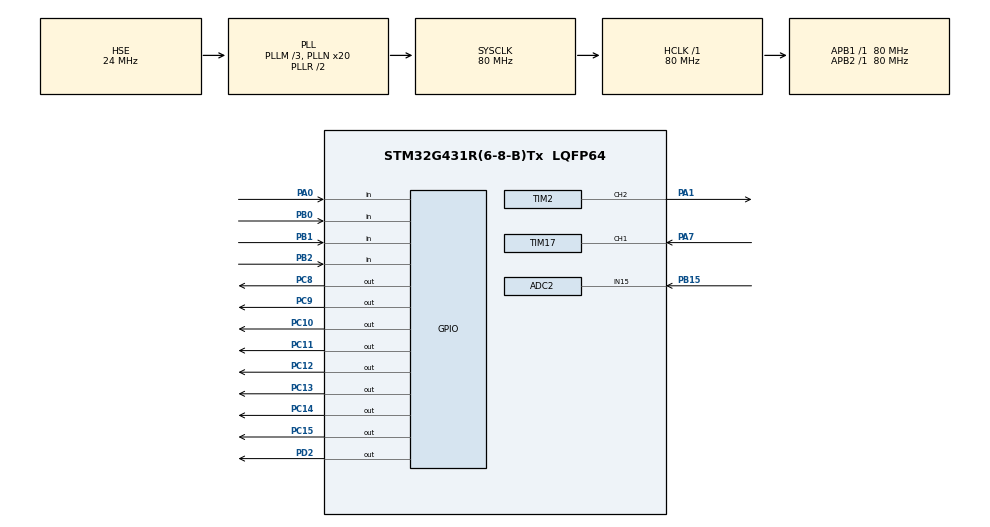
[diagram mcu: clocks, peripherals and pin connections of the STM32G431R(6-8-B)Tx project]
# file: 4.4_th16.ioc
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ADC2.Channel-0\#ChannelRegularConversion=ADC_CHANNEL_15
ADC2.NbrOfConversionFlag=1
ADC2.OffsetNumber-0\#ChannelRegularConversion=ADC_OFFSET_NONE
ADC2.Rank-0\#ChannelRegularConversion=1
ADC2.SamplingTime-0\#ChannelRegularConversion=ADC_SAMPLETIME_2CYCLES_5
Mcu.Family=STM32G4
Mcu.Name=STM32G431R(6-8-B)Tx
Mcu.Package=LQFP64
NVIC.PriorityGroup=NVIC_PRIORITYGROUP_4
NVIC.TIM1_BRK_TIM15_IRQn=true\:0\:0\:false\:false\:true\:true\:true\:true
NVIC.TIM1_TRG_COM_TIM17_IRQn=true\:0\:0\:false\:false\:true\:true\:true\:true
NVIC.TIM1_UP_TIM16_IRQn=true\:0\:0\:false\:false\:true\:true\:true\:true
PA0.GPIO_Mode=GPIO_MODE_INPUT
PA0.GPIO_PuPd=GPIO_NOPULL
PA0.Signal=GPIO_Input
PA1.Signal=S_TIM2_CH2
PA13.Mode=Serial_Wire
PA13.Signal=SYS_JTMS-SWDIO
PA14.Mode=Serial_Wire
PA14.Signal=SYS_JTCK-SWCLK
PA7.Signal=S_TIM17_CH1
PB0.GPIO_Mode=GPIO_MODE_INPUT
PB0.GPIO_PuPd=GPIO_NOPULL
PB0.Signal=GPIO_Input
PB1.GPIO_Mode=GPIO_MODE_INPUT
PB1.GPIO_PuPd=GPIO_NOPULL
PB1.Signal=GPIO_Input
PB15.Mode=IN15-Single-Ended
PB15.Signal=ADC2_IN15
PB2.GPIO_Mode=GPIO_MODE_INPUT
PB2.GPIO_PuPd=GPIO_NOPULL
PB2.Signal=GPIO_Input
PC10.GPIO_ModeDefaultOutputPP=GPIO_MODE_OUTPUT_PP
PC10.GPIO_PuPd=GPIO_NOPULL
PC10.GPIO_Speed=GPIO_SPEED_FREQ_LOW
PC10.PinState=GPIO_PIN_SET
PC10.Signal=GPIO_Output
PC11.GPIO_ModeDefaultOutputPP=GPIO_MODE_OUTPUT_PP
PC11.GPIO_PuPd=GPIO_NOPULL
PC11.GPIO_Speed=GPIO_SPEED_FREQ_LOW
PC11.PinState=GPIO_PIN_SET
PC11.Signal=GPIO_Output
PC12.GPIO_ModeDefaultOutputPP=GPIO_MODE_OUTPUT_PP
PC12.GPIO_PuPd=GPIO_NOPULL
PC12.GPIO_Speed=GPIO_SPEED_FREQ_LOW
PC12.PinState=GPIO_PIN_SET
PC12.Signal=GPIO_Output
PC13.GPIO_ModeDefaultOutputPP=GPIO_MODE_OUTPUT_PP
PC13.GPIO_PuPd=GPIO_NOPULL
PC13.GPIO_Speed=GPIO_SPEED_FREQ_LOW
PC13.PinState=GPIO_PIN_SET
PC13.Signal=GPIO_Output
PC14-OSC32_IN.GPIO_ModeDefaultOutputPP=GPIO_MODE_OUTPUT_PP
PC14-OSC32_IN.GPIO_PuPd=GPIO_NOPULL
PC14-OSC32_IN.GPIO_Speed=GPIO_SPEED_FREQ_LOW
PC14-OSC32_IN.PinState=GPIO_PIN_SET
PC14-OSC32_IN.Signal=GPIO_Output
PC15-OSC32_OUT.PinState=GPIO_PIN_SET
PC15-OSC32_OUT.Signal=GPIO_Output
PC8.GPIO_ModeDefaultOutputPP=GPIO_MODE_OUTPUT_PP
PC8.GPIO_PuPd=GPIO_NOPULL
PC8.GPIO_Speed=GPIO_SPEED_FREQ_LOW
PC8.PinState=GPIO_PIN_SET
PC8.Signal=GPIO_Output
PC9.GPIO_ModeDefaultOutputPP=GPIO_MODE_OUTPUT_PP
PC9.GPIO_PuPd=GPIO_NOPULL
PC9.GPIO_Speed=GPIO_SPEED_FREQ_LOW
PC9.PinState=GPIO_PIN_SET
PC9.Signal=GPIO_Output
PD2.GPIO_ModeDefaultOutputPP=GPIO_MODE_OUTPUT_PP
PD2.GPIO_PuPd=GPIO_NOPULL
PD2.GPIO_Speed=GPIO_SPEED_FREQ_LOW
PD2.PinState=GPIO_PIN_SET
PD2.Signal=GPIO_Output
PF0-OSC_IN.Mode=HSE-External-Oscillator
PF0-OSC_IN.Signal=RCC_OSC_IN
PF1-OSC_OUT.Mode=HSE-External-Oscillator
PF1-OSC_OUT.Signal=RCC_OSC_OUT
ProjectManager.HeapSize=0x200
ProjectManager.StackSize=0x400
ProjectManager.TargetToolchain=MDK-ARM V5.32
RCC.ADC12Freq_Value=80000000
RCC.AHBFreq_Value=80000000
RCC.APB1Freq_Value=80000000
RCC.APB1TimFreq_Value=80000000
RCC.APB2Freq_Value=80000000
RCC.APB2TimFreq_Value=80000000
RCC.CortexFreq_Value=80000000
RCC.EXTERNAL_CLOCK_VALUE=12288000
RCC.HCLKFreq_Value=80000000
RCC.HSE_VALUE=24000000
RCC.HSI48_VALUE=48000000
RCC.HSI_VALUE=16000000
RCC.LSE_VALUE=32768
RCC.PLLM=RCC_PLLM_DIV3
RCC.PLLN=20
RCC.PLLSourceVirtual=RCC_PLLSOURCE_HSE
RCC.SYSCLKFreq_VALUE=80000000
RCC.SYSCLKSource=RCC_SYSCLKSOURCE_PLLCLK
RCC.USBFreq_Value=80000000
RCC.VCOOutputFreq_Value=160000000
SH.S_TIM17_CH1.0=TIM17_CH1,Input_Capture1_from_TI1
SH.S_TIM2_CH2.0=TIM2_CH2,PWM Generation2 CH2
TIM1.PeriodNoDither=1000-1
TIM1.Prescaler=80-1
TIM17.Channel=TIM_CHANNEL_1
TIM17.Prescaler=80-1
TIM2.Channel-PWM\ Generation2\ CH2=TIM_CHANNEL_2
TIM2.PeriodNoDither=100-1
TIM2.Prescaler=200-1
VP_SYS_VS_DBSignals.Mode=DisableDeadBatterySignals
VP_TIM17_VS_ClockSourceINT.Mode=Enable_Timer
VP_TIM1_VS_ClockSourceINT.Mode=Internal
board=custom

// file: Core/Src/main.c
/* USER CODE BEGIN Header */
/**
  ******************************************************************************
  * @file           : main.c
  * @brief          : Main program body
  ******************************************************************************
  * @attention
  *
  * Copyright (c) 2026 STMicroelectronics.
  * All rights reserved.
  *
  * This software is licensed under terms that can be found in the LICENSE file
  * in the root directory of this software component.
  * If no LICENSE file comes with this software, it is provided AS-IS.
  *
  ******************************************************************************
  */
/* USER CODE END Header */
#include "main.h"
#include "adc.h"
#include "tim.h"
#include "gpio.h"

/* USER CODE BEGIN Includes */
#include "headfile.h"
/* USER CODE END Includes */

/* USER CODE BEGIN PV */
int a;
float duty=50;
/* USER CODE END PV */

void SystemClock_Config(void);

int main(void)
{

  /* MCU Configuration--------------------------------------------------------*/

  /* Reset of all peripherals, Initializes the Flash interface and the Systick. */
  HAL_Init();

  /* Configure the system clock */
  SystemClock_Config();

  /* Initialize all configured peripherals */
  MX_GPIO_Init();
  MX_TIM1_Init();
  MX_TIM2_Init();
  MX_ADC2_Init();
  MX_TIM17_Init();
  /* USER CODE BEGIN 2 */
HAL_GPIO_WritePin(GPIOD,GPIO_PIN_2,GPIO_PIN_RESET);

LCD_Init();
LCD_Clear(Black);
LCD_SetBackColor(Black);
LCD_SetTextColor(White);

HAL_TIM_Base_Start_IT(&htim1);
HAL_TIM_PWM_Start(&htim2,TIM_CHANNEL_2);
TIM2->CCR2=duty;

HAL_TIM_IC_Start_IT(&htim17,TIM_CHANNEL_1);
//HAL_TIM_IC_Start_IT()

  /* USER CODE END 2 */

  /* Infinite loop */
  /* USER CODE BEGIN WHILE */
  while (1)
  {

	  task();
	  if(key_short)
	  {
		switch(key_short)
		{
			case 1:{
			mode_lcd=(mode_lcd+1)%3;
			}break;
				case 2:{
				if(allow_change_flag==0&&mode_lcd==0)
				{
					allow_change_flag=1;
					pwm_count++;
					mode_fre=(mode_fre+1)%2;
				}

				if(mode_lcd==1)
				{
					change_RK_flag=!change_RK_flag;
				}
				}break;
					case 3:{
						if(mode_lcd==1&&change_RK_flag==0)
						{
							change_R=((change_R)%10)+1;

						}
						if(mode_lcd==1&&change_RK_flag==1)
						{
							change_K=(change_K)%10+1;
						}
					}break;
						case 4:{
						if(mode_lcd==1&&change_RK_flag==0)
						{
							change_R=change_R-1;
							if(change_R==0)change_R=10;

						}
						if(mode_lcd==1&&change_RK_flag==1)
						{
							change_K=change_K-1;
							if(change_K==0)change_K=10;
						}

						if(mode_lcd==0)
						{
							adc_flag=0;//
						}
						}break;
		}key_short=0;
	  }

	  if(key_long)
	  {
		switch(key_long)
		{
			case 1:{
			mode_lcd=(mode_lcd+1)%3;
			}break;
				case 2:{
					if(allow_change_flag==0&&mode_lcd==0)
				{
					allow_change_flag=1;
					mode_fre=(mode_fre+1)%2;
				}
					if(mode_lcd==1)
				{
					change_RK_flag=!change_RK_flag;
				}
				}break;
					case 3:{
						if(mode_lcd==1&&change_RK_flag==0)
						{
							change_R=((change_R)%10)+1;

						}
						if(mode_lcd==1&&change_RK_flag==1)
						{
							change_K=(change_K)%10+1;
						}
					}break;
						case 4:{
						if(mode_lcd==1&&change_RK_flag==0)
						{
							change_R=change_R-1;
							if(change_R==0)change_R=10;

						}
						if(mode_lcd==1&&change_RK_flag==1)
						{
							change_K=change_K-1;
							if(change_K==0)change_K=10;
						}

						if(mode_lcd==0)
						{
							adc_flag=1;//
						}
						}break;
		}key_long=0;
	  }

    /* USER CODE END WHILE */

  }
}

void SystemClock_Config(void)
{
  RCC_OscInitTypeDef RCC_OscInitStruct = {0};
  RCC_ClkInitTypeDef RCC_ClkInitStruct = {0};

  /** Configure the main internal regulator output voltage
  */
  HAL_PWREx_ControlVoltageScaling(PWR_REGULATOR_VOLTAGE_SCALE1);

  /** Initializes the RCC Oscillators according to the specified parameters
  * in the RCC_OscInitTypeDef structure.
  */
  RCC_OscInitStruct.OscillatorType = RCC_OSCILLATORTYPE_HSE;
  RCC_OscInitStruct.HSEState = RCC_HSE_ON;
  RCC_OscInitStruct.PLL.PLLState = RCC_PLL_ON;
  RCC_OscInitStruct.PLL.PLLSource = RCC_PLLSOURCE_HSE;
  RCC_OscInitStruct.PLL.PLLM = RCC_PLLM_DIV3;
  RCC_OscInitStruct.PLL.PLLN = 20;
  RCC_OscInitStruct.PLL.PLLP = RCC_PLLP_DIV2;
  RCC_OscInitStruct.PLL.PLLQ = RCC_PLLQ_DIV2;
  RCC_OscInitStruct.PLL.PLLR = RCC_PLLR_DIV2;
  if (HAL_RCC_OscConfig(&RCC_OscInitStruct) != HAL_OK)
  {
    Error_Handler();
  }

  /** Initializes the CPU, AHB and APB buses clocks
  */
  RCC_ClkInitStruct.ClockType = RCC_CLOCKTYPE_HCLK|RCC_CLOCKTYPE_SYSCLK
                              |RCC_CLOCKTYPE_PCLK1|RCC_CLOCKTYPE_PCLK2;
  RCC_ClkInitStruct.SYSCLKSource = RCC_SYSCLKSOURCE_PLLCLK;
  RCC_ClkInitStruct.AHBCLKDivider = RCC_SYSCLK_DIV1;
  RCC_ClkInitStruct.APB1CLKDivider = RCC_HCLK_DIV1;
  RCC_ClkInitStruct.APB2CLKDivider = RCC_HCLK_DIV1;

  if (HAL_RCC_ClockConfig(&RCC_ClkInitStruct, FLASH_LATENCY_2) != HAL_OK)
  {
    Error_Handler();
  }
}

void Error_Handler(void)
{
  __disable_irq();
  while (1)
  {
  }
}
